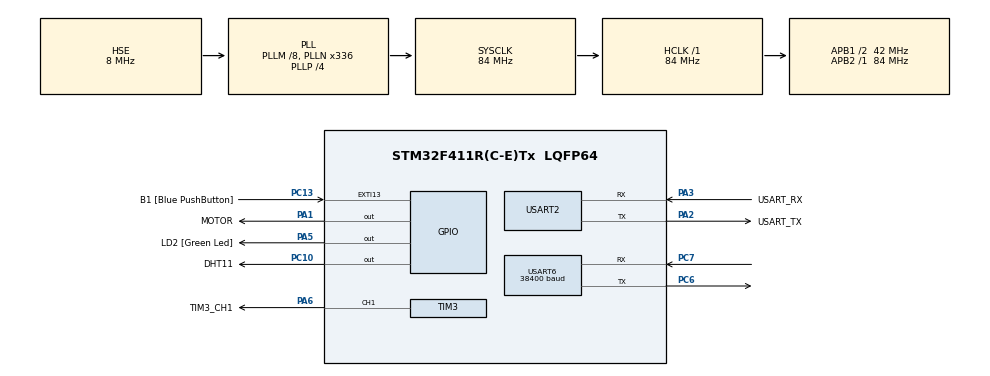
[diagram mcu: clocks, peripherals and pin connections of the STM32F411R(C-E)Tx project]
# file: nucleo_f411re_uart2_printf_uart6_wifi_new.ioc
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Mcu.Family=STM32F4
Mcu.Name=STM32F411R(C-E)Tx
Mcu.Package=LQFP64
NVIC.PriorityGroup=NVIC_PRIORITYGROUP_0
NVIC.TIM3_IRQn=true\:0\:0\:false\:false\:true\:true\:true\:true
NVIC.USART2_IRQn=true\:0\:0\:false\:false\:true\:true\:true\:true
NVIC.USART6_IRQn=true\:0\:0\:false\:false\:true\:true\:true\:true
PA1.GPIO_Label=MOTOR
PA1.Signal=GPIO_Output
PA13.GPIO_Label=TMS
PA13.Mode=Serial_Wire
PA13.Signal=SYS_JTMS-SWDIO
PA14.GPIO_Label=TCK
PA14.Mode=Serial_Wire
PA14.Signal=SYS_JTCK-SWCLK
PA2.GPIO_Label=USART_TX
PA2.Mode=Asynchronous
PA2.Signal=USART2_TX
PA3.GPIO_Label=USART_RX
PA3.Mode=Asynchronous
PA3.Signal=USART2_RX
PA5.GPIO_Label=LD2 [Green Led]
PA5.Signal=GPIO_Output
PA6.GPIO_Label=TIM3_CH1
PA6.Signal=S_TIM3_CH1
PB3.GPIO_Label=SWO
PB3.Signal=SYS_JTDO-SWO
PC10.GPIO_Label=DHT11
PC10.GPIO_ModeDefaultOutputPP=GPIO_MODE_OUTPUT_PP
PC10.Signal=GPIO_Output
PC13-ANTI_TAMP.GPIO_Label=B1 [Blue PushButton]
PC13-ANTI_TAMP.GPIO_ModeDefaultEXTI=GPIO_MODE_IT_FALLING
PC13-ANTI_TAMP.Signal=GPXTI13
PC14-OSC32_IN.Signal=RCC_OSC32_IN
PC15-OSC32_OUT.Signal=RCC_OSC32_OUT
PC6.Mode=Asynchronous
PC6.Signal=USART6_TX
PC7.Mode=Asynchronous
PC7.Signal=USART6_RX
PH0\ -\ OSC_IN.Mode=HSE-External-Oscillator
PH0\ -\ OSC_IN.Signal=RCC_OSC_IN
PH1\ -\ OSC_OUT.Mode=HSE-External-Oscillator
PH1\ -\ OSC_OUT.Signal=RCC_OSC_OUT
ProjectManager.HeapSize=0x200
ProjectManager.StackSize=0x400
ProjectManager.TargetToolchain=STM32CubeIDE
RCC.48MHZClocksFreq_Value=84000000
RCC.AHBFreq_Value=84000000
RCC.APB1CLKDivider=RCC_HCLK_DIV2
RCC.APB1Freq_Value=42000000
RCC.APB1TimFreq_Value=84000000
RCC.APB2Freq_Value=84000000
RCC.APB2TimFreq_Value=84000000
RCC.CortexFreq_Value=84000000
RCC.FLatency-AdvancedSettings=FLASH_LATENCY_2
RCC.HCLKFreq_Value=84000000
RCC.HSE_VALUE=8000000
RCC.HSI_VALUE=16000000
RCC.LSE_VALUE=32768
RCC.PLLM=8
RCC.PLLN=336
RCC.PLLP=RCC_PLLP_DIV4
RCC.PLLSourceVirtual=RCC_PLLSOURCE_HSE
RCC.SYSCLKFreq_VALUE=84000000
RCC.SYSCLKSource=RCC_SYSCLKSOURCE_PLLCLK
RCC.VCOOutputFreq_Value=336000000
SH.S_TIM3_CH1.0=TIM3_CH1,PWM Generation1 CH1
TIM3.AutoReloadPreload=TIM_AUTORELOAD_PRELOAD_ENABLE
TIM3.Channel-PWM\ Generation1\ CH1=TIM_CHANNEL_1
TIM3.Period=1000-1
TIM3.Prescaler=84-1
TIM3.Pulse-PWM\ Generation1\ CH1=500
USART2.VirtualMode=VM_ASYNC
USART6.BaudRate=38400
USART6.VirtualMode=VM_ASYNC
VP_TIM3_VS_ClockSourceINT.Mode=Internal
board=NUCLEO-F411RE

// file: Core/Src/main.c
/* USER CODE BEGIN Header */
/**
  ******************************************************************************
  * @file           : main.c
  * @brief          : Main program body
  ******************************************************************************
  * @attention
  *
  * Copyright (c) 2024 STMicroelectronics.
  * All rights reserved.
  *
  * This software is licensed under terms that can be found in the LICENSE file
  * in the root directory of this software component.
  * If no LICENSE file comes with this software, it is provided AS-IS.
  *
  ******************************************************************************
  */
/* USER CODE END Header */
#include "main.h"

/* USER CODE BEGIN Includes */
#include <stdio.h>
#include <string.h>
#include "esp.h"
#include "dht.h"
/* USER CODE END Includes */

/* USER CODE BEGIN PD */
#ifdef __GNUC__
/* With GCC, small printf (option LD Linker->Libraries->Small printf
   set to 'Yes') calls __io_putchar() */
#define PUTCHAR_PROTOTYPE int __io_putchar(int ch)
#else
#define PUTCHAR_PROTOTYPE int fputc(int ch, FILE *f)
#endif /* __GNUC__ */
#define ARR_CNT 5
#define CMD_SIZE 50

/* USER CODE END PD */

TIM_HandleTypeDef htim3;

UART_HandleTypeDef huart2;
UART_HandleTypeDef huart6;

/* USER CODE BEGIN PV */
uint8_t rx2char;
extern cb_data_t cb_data;
extern volatile unsigned char rx2Flag;
extern volatile char rx2Data[50];
volatile int tim3Flag1Sec=1;
volatile unsigned int tim3Sec;
/* USER CODE END PV */

void SystemClock_Config(void);
static void MX_GPIO_Init(void);
static void MX_USART2_UART_Init(void);
static void MX_USART6_UART_Init(void);
static void MX_TIM3_Init(void);
/* USER CODE BEGIN PFP */
char strBuff[MAX_ESP_COMMAND_LEN];
void MX_GPIO_LED_ON(int flag);
void MX_GPIO_LED_OFF(int flag);
void esp_event(char *);
/* USER CODE END PFP */

int main(void)
{

  /* USER CODE BEGIN 1 */
	int ret = 0;
	int pulse = 500;
  /* USER CODE END 1 */

  /* MCU Configuration--------------------------------------------------------*/

  /* Reset of all peripherals, Initializes the Flash interface and the Systick. */
  HAL_Init();

  /* Configure the system clock */
  SystemClock_Config();

  /* Initialize all configured peripherals */
  MX_GPIO_Init();
  MX_USART2_UART_Init();
  MX_USART6_UART_Init();
  MX_TIM3_Init();
  /* USER CODE BEGIN 2 */
  printf("Start main() - wifi\r\n");
  DHT11_Init();
  DHT11_TypeDef dht11Data;
  char buff[30];

  ret |= drv_uart_init();
  ret |= drv_esp_init();
  if(ret != 0)
  {
	  printf("Esp response error\r\n");
	  Error_Handler();
  }

  AiotClient_Init();
  if(HAL_TIM_Base_Start_IT(&htim3) != HAL_OK)
  {
	  Error_Handler();
  }
  if(HAL_TIM_PWM_Start(&htim3, TIM_CHANNEL_1) != HAL_OK)
  {
	  Error_Handler();
  }
  /* USER CODE END 2 */

  /* Infinite loop */
  /* USER CODE BEGIN WHILE */
  while (1)
  {

		if(strstr((char *)cb_data.buf,"+IPD") && cb_data.buf[cb_data.length-1] == '\n')
		{
			//?��?��?���??  \r\n+IPD,15:[KSH_LIN]HELLO\n
			strcpy(strBuff,strchr((char *)cb_data.buf,'['));
			memset(cb_data.buf,0x0,sizeof(cb_data.buf));
			cb_data.length = 0;
			esp_event(strBuff);
		}
		if(rx2Flag)
		{
			printf("recv2 : %s\r\n",rx2Data);
			rx2Flag =0;
		}

		if( dht11Data.rh_byte1 < 60)
			{
				pulse = 500;
			}
		else
			{
				printf("%d>60/r/n",dht11Data.rh_byte1);
				pulse = 1000;
			}
		__HAL_TIM_SetCompare(&htim3, TIM_CHANNEL_1, (pulse-1)<0?0:pulse-1 );
		printf("pulse : %d\r\n",pulse-1);

		if(tim3Flag1Sec)	//1초에 한번
		{
			tim3Flag1Sec = 0;
			if(!(tim3Sec%10)) //10초에 한번
			{
				if(esp_get_status() != 0)
				{
					printf("server connecting ...\r\n");
					esp_client_conn();
				}
				HAL_GPIO_TogglePin(MOTOR_GPIO_Port,MOTOR_Pin);

			}
			dht11Data = DHT11_readData();
			sprintf(buff,"h: %d%% t: %d.%d'C", dht11Data.rh_byte1, dht11Data.temp_byte1, dht11Data.temp_byte2);
			printf("%s\r\n", buff);
			sprintf(buff,"[KTH_SQL]SENSOR@%d@%d.%d", dht11Data.rh_byte1, dht11Data.temp_byte1, dht11Data.temp_byte2);
			esp_send_data(buff);
			printf("%s\r\n", buff);
		}

    /* USER CODE END WHILE */

  }
}

void SystemClock_Config(void)
{
  RCC_OscInitTypeDef RCC_OscInitStruct = {0};
  RCC_ClkInitTypeDef RCC_ClkInitStruct = {0};

  /** Configure the main internal regulator output voltage
  */
  __HAL_RCC_PWR_CLK_ENABLE();
  __HAL_PWR_VOLTAGESCALING_CONFIG(PWR_REGULATOR_VOLTAGE_SCALE1);

  /** Initializes the RCC Oscillators according to the specified parameters
  * in the RCC_OscInitTypeDef structure.
  */
  RCC_OscInitStruct.OscillatorType = RCC_OSCILLATORTYPE_HSE;
  RCC_OscInitStruct.HSEState = RCC_HSE_ON;
  RCC_OscInitStruct.PLL.PLLState = RCC_PLL_ON;
  RCC_OscInitStruct.PLL.PLLSource = RCC_PLLSOURCE_HSE;
  RCC_OscInitStruct.PLL.PLLM = 8;
  RCC_OscInitStruct.PLL.PLLN = 336;
  RCC_OscInitStruct.PLL.PLLP = RCC_PLLP_DIV4;
  RCC_OscInitStruct.PLL.PLLQ = 4;
  if (HAL_RCC_OscConfig(&RCC_OscInitStruct) != HAL_OK)
  {
    Error_Handler();
  }

  /** Initializes the CPU, AHB and APB buses clocks
  */
  RCC_ClkInitStruct.ClockType = RCC_CLOCKTYPE_HCLK|RCC_CLOCKTYPE_SYSCLK
                              |RCC_CLOCKTYPE_PCLK1|RCC_CLOCKTYPE_PCLK2;
  RCC_ClkInitStruct.SYSCLKSource = RCC_SYSCLKSOURCE_PLLCLK;
  RCC_ClkInitStruct.AHBCLKDivider = RCC_SYSCLK_DIV1;
  RCC_ClkInitStruct.APB1CLKDivider = RCC_HCLK_DIV2;
  RCC_ClkInitStruct.APB2CLKDivider = RCC_HCLK_DIV1;

  if (HAL_RCC_ClockConfig(&RCC_ClkInitStruct, FLASH_LATENCY_2) != HAL_OK)
  {
    Error_Handler();
  }
}

static void MX_TIM3_Init(void)
{

  TIM_ClockConfigTypeDef sClockSourceConfig = {0};
  TIM_MasterConfigTypeDef sMasterConfig = {0};
  TIM_OC_InitTypeDef sConfigOC = {0};

  htim3.Instance = TIM3;
  htim3.Init.Prescaler = 84-1;
  htim3.Init.CounterMode = TIM_COUNTERMODE_UP;
  htim3.Init.Period = 1000-1;
  htim3.Init.ClockDivision = TIM_CLOCKDIVISION_DIV1;
  htim3.Init.AutoReloadPreload = TIM_AUTORELOAD_PRELOAD_ENABLE;
  if (HAL_TIM_Base_Init(&htim3) != HAL_OK)
  {
    Error_Handler();
  }
  sClockSourceConfig.ClockSource = TIM_CLOCKSOURCE_INTERNAL;
  if (HAL_TIM_ConfigClockSource(&htim3, &sClockSourceConfig) != HAL_OK)
  {
    Error_Handler();
  }
  if (HAL_TIM_PWM_Init(&htim3) != HAL_OK)
  {
    Error_Handler();
  }
  sMasterConfig.MasterOutputTrigger = TIM_TRGO_RESET;
  sMasterConfig.MasterSlaveMode = TIM_MASTERSLAVEMODE_DISABLE;
  if (HAL_TIMEx_MasterConfigSynchronization(&htim3, &sMasterConfig) != HAL_OK)
  {
    Error_Handler();
  }
  sConfigOC.OCMode = TIM_OCMODE_PWM1;
  sConfigOC.Pulse = 500;
  sConfigOC.OCPolarity = TIM_OCPOLARITY_HIGH;
  sConfigOC.OCFastMode = TIM_OCFAST_DISABLE;
  if (HAL_TIM_PWM_ConfigChannel(&htim3, &sConfigOC, TIM_CHANNEL_1) != HAL_OK)
  {
    Error_Handler();
  }
  HAL_TIM_MspPostInit(&htim3);

}

static void MX_USART2_UART_Init(void)
{

  huart2.Instance = USART2;
  huart2.Init.BaudRate = 115200;
  huart2.Init.WordLength = UART_WORDLENGTH_8B;
  huart2.Init.StopBits = UART_STOPBITS_1;
  huart2.Init.Parity = UART_PARITY_NONE;
  huart2.Init.Mode = UART_MODE_TX_RX;
  huart2.Init.HwFlowCtl = UART_HWCONTROL_NONE;
  huart2.Init.OverSampling = UART_OVERSAMPLING_16;
  if (HAL_UART_Init(&huart2) != HAL_OK)
  {
    Error_Handler();
  }

}

static void MX_USART6_UART_Init(void)
{

  huart6.Instance = USART6;
  huart6.Init.BaudRate = 38400;
  huart6.Init.WordLength = UART_WORDLENGTH_8B;
  huart6.Init.StopBits = UART_STOPBITS_1;
  huart6.Init.Parity = UART_PARITY_NONE;
  huart6.Init.Mode = UART_MODE_TX_RX;
  huart6.Init.HwFlowCtl = UART_HWCONTROL_NONE;
  huart6.Init.OverSampling = UART_OVERSAMPLING_16;
  if (HAL_UART_Init(&huart6) != HAL_OK)
  {
    Error_Handler();
  }

}

static void MX_GPIO_Init(void)
{
  GPIO_InitTypeDef GPIO_InitStruct = {0};

  /* GPIO Ports Clock Enable */
  __HAL_RCC_GPIOC_CLK_ENABLE();
  __HAL_RCC_GPIOH_CLK_ENABLE();
  __HAL_RCC_GPIOA_CLK_ENABLE();
  __HAL_RCC_GPIOB_CLK_ENABLE();

  /*Configure GPIO pin Output Level */
  HAL_GPIO_WritePin(GPIOA, MOTOR_Pin|LD2_Pin, GPIO_PIN_RESET);

  /*Configure GPIO pin Output Level */
  HAL_GPIO_WritePin(DHT11_GPIO_Port, DHT11_Pin, GPIO_PIN_RESET);

  /*Configure GPIO pin : B1_Pin */
  GPIO_InitStruct.Pin = B1_Pin;
  GPIO_InitStruct.Mode = GPIO_MODE_IT_FALLING;
  GPIO_InitStruct.Pull = GPIO_NOPULL;
  HAL_GPIO_Init(B1_GPIO_Port, &GPIO_InitStruct);

  /*Configure GPIO pins : MOTOR_Pin LD2_Pin */
  GPIO_InitStruct.Pin = MOTOR_Pin|LD2_Pin;
  GPIO_InitStruct.Mode = GPIO_MODE_OUTPUT_PP;
  GPIO_InitStruct.Pull = GPIO_NOPULL;
  GPIO_InitStruct.Speed = GPIO_SPEED_FREQ_LOW;
  HAL_GPIO_Init(GPIOA, &GPIO_InitStruct);

  /*Configure GPIO pin : DHT11_Pin */
  GPIO_InitStruct.Pin = DHT11_Pin;
  GPIO_InitStruct.Mode = GPIO_MODE_OUTPUT_PP;
  GPIO_InitStruct.Pull = GPIO_NOPULL;
  GPIO_InitStruct.Speed = GPIO_SPEED_FREQ_LOW;
  HAL_GPIO_Init(DHT11_GPIO_Port, &GPIO_InitStruct);

}

/* USER CODE BEGIN 4 */
void MX_GPIO_LED_ON(int pin)
{
	HAL_GPIO_WritePin(LD2_GPIO_Port, pin, GPIO_PIN_SET);
}
void MX_GPIO_LED_OFF(int pin)
{
	HAL_GPIO_WritePin(LD2_GPIO_Port, pin, GPIO_PIN_RESET);
}
void esp_event(char * recvBuf)
{
  int i=0;
  char * pToken;
  char * pArray[ARR_CNT]={0};
  char sendBuf[MAX_UART_COMMAND_LEN]={0};

  strBuff[strlen(recvBuf)-1] = '\0';	//'\n' cut
  printf("\r\nDebug recv : %s\r\n",recvBuf);

  pToken = strtok(recvBuf,"[@]");
  while(pToken != NULL)
  {
    pArray[i] = pToken;
    if(++i >= ARR_CNT)
      break;
    pToken = strtok(NULL,"[@]");
  }

  if(!strcmp(pArray[1],"LED"))
  {
  	if(!strcmp(pArray[2],"ON"))
  	{
  		MX_GPIO_LED_ON(LD2_Pin);

  	}
	else if(!strcmp(pArray[2],"OFF"))
	{
		MX_GPIO_LED_OFF(LD2_Pin);
	}
	sprintf(sendBuf,"[%s]%s@%s\n",pArray[0],pArray[1],pArray[2]);
  }
  else if(!strncmp(pArray[1]," New conn",8))
  {
//	   printf("Debug : %s, %s\r\n",pArray[0],pArray[1]);
     return;
  }
  else if(!strncmp(pArray[1]," Already log",8))
  {
// 	    printf("Debug : %s, %s\r\n",pArray[0],pArray[1]);
	  esp_client_conn();
      return;
  }
  else
      return;

  esp_send_data(sendBuf);
  printf("Debug send : %s\r\n",sendBuf);
}

void HAL_TIM_PeriodElapsedCallback(TIM_HandleTypeDef *htim)		//1ms 마다 호출
{
	static int tim3Cnt = 0;
	tim3Cnt++;
	if(tim3Cnt >= 1000) //1ms * 1000 = 1Sec
	{
		tim3Flag1Sec = 1;
		tim3Sec++;
		tim3Cnt = 0;
	}
}
/* USER CODE END 4 */

void Error_Handler(void)
{
  __disable_irq();
  while (1)
  {
  }
}
